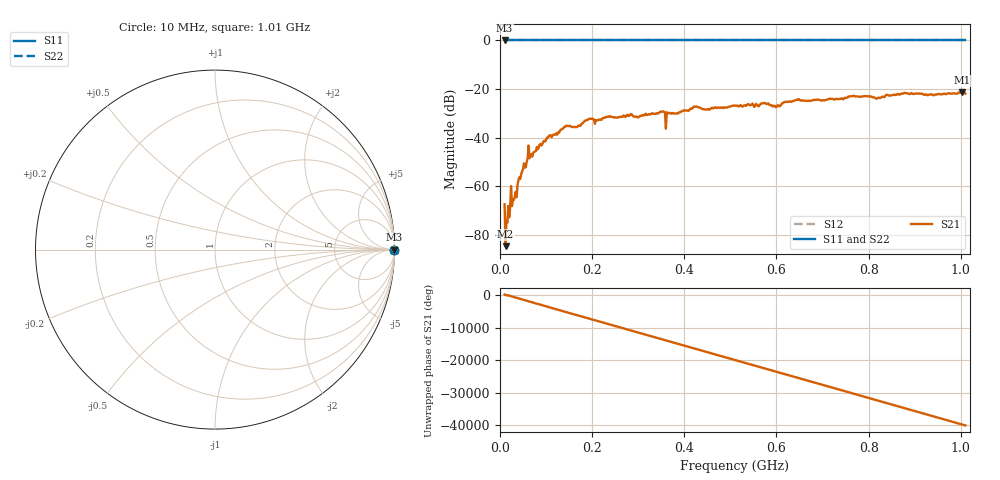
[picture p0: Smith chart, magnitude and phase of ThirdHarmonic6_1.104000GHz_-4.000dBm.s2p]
! 8/16/2025 10:25:04 AM
! C:\ANRITSUVNA\TEMP\TEMP.S2P
! CHANNEL.1
! TR.MEASUREMENT
! RAW.DATA
! RF.CORRECTION.OFF
! AVERAGING.OFF
! IF.BANDWIDTH: 5KHZ
! SWEEPTYPE:  FREQ.SWEEP(Linear)
! Reference Plane Port Info
! PORT:  PORT1  PORT2
! DISTANCE:  0  m  0  m
! TIME:  0  s  0  s
! PHASE.OFFSET:  0  deg.  0  deg.
! LOSS:  0  dB  0  dB
! REF.LOSS:  0  dB  0  dB
! REF.FREQ:  0  Hz  0  Hz
! Power Info
! POWER:  -20  dBm  -20  dBm
! EFF.POWER:  -20  dBm  -20  dBm
! SOURCE.ATTEN:  0  dB  0  dB
! TEST.ATTEN:  0  dB  0  dB
# GHZ S RI R 50.0
! FREQ.GHZ  S11RE  S11IM  S21RE  S21IM  S12RE  S12IM  S22RE  S22IM
!; PortSelection: Port_12
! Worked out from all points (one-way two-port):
!   501 points, 10 MHz to 1.01 GHz, reference 50 ohm
!   highest |S21| = -21.33 dB at 1.002 GHz (marker M1); lowest = -84.7 dB at 12 MHz (marker M2)
!   lowest |S11| = 0.0 dB at 10 MHz (marker M3)
!   |S11| at or under -10 dB: nowhere
!   |S22| runs from 0.0 to 0.0 dB; largest |S21 - S12| = 1.1
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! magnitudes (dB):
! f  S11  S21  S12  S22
! 10 MHz  0.0  -67.4  0.0  0.0
! 12 MHz  0.0  -84.7  0.0  0.0
! 16 MHz  0.0  -75.0  0.0  0.0
! 22 MHz  0.0  -68.8  0.0  0.0
! 32 MHz  0.0  -64.4  0.0  0.0
! 44 MHz  0.0  -57.0  0.0  0.0
! 64 MHz  0.0  -48.5  0.0  0.0
! 106 MHz  0.0  -39.3  0.0  0.0
! 142 MHz  0.0  -35.5  0.0  0.0
! 178 MHz  0.0  -34.2  0.0  0.0
! 196 MHz  0.0  -32.2  0.0  0.0
! 344 MHz  0.0  -30.0  0.0  0.0
! 364 MHz  0.0  -30.0  0.0  0.0
! 424 MHz  0.0  -27.3  0.0  0.0
! 450 MHz  0.0  -28.3  0.0  0.0
! 510 MHz  0.0  -26.8  0.0  0.0
! 572 MHz  0.0  -25.8  0.0  0.0
! 596 MHz  0.0  -26.9  0.0  0.0
! 678 MHz  0.0  -24.7  0.0  0.0
! 844 MHz  0.0  -22.7  0.0  0.0
! 1.002 GHz  0.0  -21.3  0.0  0.0
! 1.01 GHz  0.0  -21.9  0.0  0.0
